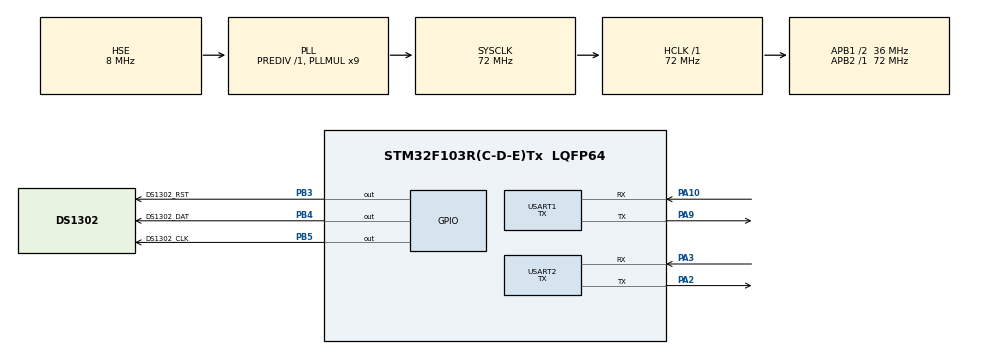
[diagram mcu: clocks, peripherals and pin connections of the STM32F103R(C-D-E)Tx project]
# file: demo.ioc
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Mcu.Family=STM32F1
Mcu.Name=STM32F103R(C-D-E)Tx
Mcu.Package=LQFP64
NVIC.PriorityGroup=NVIC_PRIORITYGROUP_4
NVIC.USART1_IRQn=true\:0\:0\:false\:false\:true\:true\:true\:true
PA10.Mode=Asynchronous
PA10.Signal=USART1_RX
PA13.Mode=Serial_Wire
PA13.Signal=SYS_JTMS-SWDIO
PA14.Mode=Serial_Wire
PA14.Signal=SYS_JTCK-SWCLK
PA2.Mode=Asynchronous
PA2.Signal=USART2_TX
PA3.Mode=Asynchronous
PA3.Signal=USART2_RX
PA9.Mode=Asynchronous
PA9.Signal=USART1_TX
PB3.GPIO_Label=DS1302_RST
PB3.Signal=GPIO_Output
PB4.GPIO_Label=DS1302_DAT
PB4.Signal=GPIO_Output
PB5.GPIO_Label=DS1302_CLK
PB5.Signal=GPIO_Output
PD0-OSC_IN.Mode=HSE-External-Oscillator
PD0-OSC_IN.Signal=RCC_OSC_IN
PD1-OSC_OUT.Mode=HSE-External-Oscillator
PD1-OSC_OUT.Signal=RCC_OSC_OUT
ProjectManager.HeapSize=0x200
ProjectManager.StackSize=0x400
ProjectManager.TargetToolchain=MDK-ARM V5
RCC.AHBFreq_Value=72000000
RCC.APB1CLKDivider=RCC_HCLK_DIV2
RCC.APB1Freq_Value=36000000
RCC.APB1TimFreq_Value=72000000
RCC.APB2Freq_Value=72000000
RCC.APB2TimFreq_Value=72000000
RCC.HCLKFreq_Value=72000000
RCC.PLLMUL=RCC_PLL_MUL9
RCC.PLLSourceVirtual=RCC_PLLSOURCE_HSE
RCC.SYSCLKFreq_VALUE=72000000
RCC.SYSCLKSource=RCC_SYSCLKSOURCE_PLLCLK
RCC.USBFreq_Value=72000000
USART1.Mode=MODE_TX
USART1.VirtualMode=VM_ASYNC
USART2.Mode=MODE_TX
USART2.VirtualMode=VM_ASYNC
board=custom

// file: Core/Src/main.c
/* USER CODE BEGIN Header */
/**
 ******************************************************************************
 * @file           : main.c
 * @brief          : Main program body
 ******************************************************************************
 * @attention
 *
 * <h2><center>&copy; Copyright (c) 2022 STMicroelectronics.
 * All rights reserved.</center></h2>
 *
 * This software component is licensed by ST under BSD 3-Clause license,
 * the "License"; You may not use this file except in compliance with the
 * License. You may obtain a copy of the License at:
 *                        opensource.org/licenses/BSD-3-Clause
 *
 ******************************************************************************
 */
/* USER CODE END Header */
#include "main.h"
#include "gpio.h"
#include "usart.h"

/* USER CODE BEGIN Includes */
#include "DS1302/ds1302.h"
/* USER CODE END Includes */

void SystemClock_Config(void);

int main(void)
{

    /* MCU Configuration--------------------------------------------------------*/

    /* Reset of all peripherals, Initializes the Flash interface and the Systick. */
    HAL_Init();

    /* Configure the system clock */
    SystemClock_Config();

    /* Initialize all configured peripherals */
    MX_GPIO_Init();
    MX_USART1_UART_Init();
    MX_USART2_UART_Init();
    /* USER CODE BEGIN 2 */

    uint8_t time[8]   = {12, 12, 20, 23, 59, 30};
    uint8_t flag_init = ds1302_read_ram(0x12) == 0x1F;

    ds1302_init();

    if (flag_init) {
        ds1302_clear_ram();
        ds1302_write_ram(0x12, 0x1F);
        ds1302_set_time(time);  // 初始化时间
    }

    ds1302_get_time_brust(time);
    printf("[brust_1] %d/%d/%d %d:%d:%d\r\n", time[0], time[1], time[2], time[3], time[4], time[5]);

    ds1302_set_time_brust(time);

    ds1302_get_time_brust(time);
    printf("[brust_2] %d/%d/%d %d:%d:%d\r\n", time[0], time[1], time[2], time[3], time[4], time[5]);

    /* USER CODE END 2 */

    /* Infinite loop */
    /* USER CODE BEGIN WHILE */
    while (1) {
        ds1302_get_time(time);
        printf("%d/%d/%d %d:%d:%d\r\n", time[0], time[1], time[2], time[3], time[4], time[5]);
        HAL_Delay(1000);

        /* USER CODE END WHILE */

    }
}

void SystemClock_Config(void)
{
    RCC_OscInitTypeDef RCC_OscInitStruct = {0};
    RCC_ClkInitTypeDef RCC_ClkInitStruct = {0};

    /** Initializes the RCC Oscillators according to the specified parameters
     * in the RCC_OscInitTypeDef structure.
     */
    RCC_OscInitStruct.OscillatorType = RCC_OSCILLATORTYPE_HSE;
    RCC_OscInitStruct.HSEState       = RCC_HSE_ON;
    RCC_OscInitStruct.HSEPredivValue = RCC_HSE_PREDIV_DIV1;
    RCC_OscInitStruct.HSIState       = RCC_HSI_ON;
    RCC_OscInitStruct.PLL.PLLState   = RCC_PLL_ON;
    RCC_OscInitStruct.PLL.PLLSource  = RCC_PLLSOURCE_HSE;
    RCC_OscInitStruct.PLL.PLLMUL     = RCC_PLL_MUL9;
    if (HAL_RCC_OscConfig(&RCC_OscInitStruct) != HAL_OK) {
        Error_Handler();
    }

    /** Initializes the CPU, AHB and APB buses clocks
     */
    RCC_ClkInitStruct.ClockType      = RCC_CLOCKTYPE_HCLK | RCC_CLOCKTYPE_SYSCLK | RCC_CLOCKTYPE_PCLK1 | RCC_CLOCKTYPE_PCLK2;
    RCC_ClkInitStruct.SYSCLKSource   = RCC_SYSCLKSOURCE_PLLCLK;
    RCC_ClkInitStruct.AHBCLKDivider  = RCC_SYSCLK_DIV1;
    RCC_ClkInitStruct.APB1CLKDivider = RCC_HCLK_DIV2;
    RCC_ClkInitStruct.APB2CLKDivider = RCC_HCLK_DIV1;

    if (HAL_RCC_ClockConfig(&RCC_ClkInitStruct, FLASH_LATENCY_2) != HAL_OK) {
        Error_Handler();
    }
}

void Error_Handler(void)
{
}
